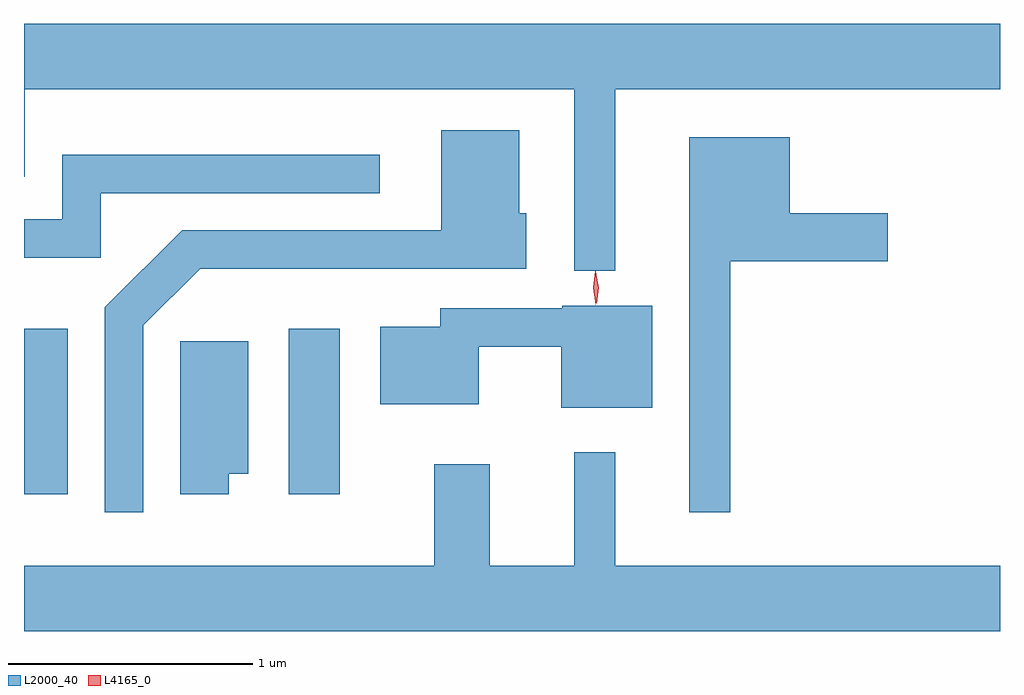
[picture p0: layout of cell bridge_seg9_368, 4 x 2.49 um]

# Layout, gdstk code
import gdstk
lib = gdstk.Library(unit=1e-6, precision=1e-09)
def R(c, l, rs):  # rectangles x0, y0, x1, y1
    for r in rs: c.add(gdstk.rectangle(r[:2], r[2:], *l))
def P(c, l, *ps):  # polygons
    for p in ps: c.add(gdstk.Polygon(p, *l))
L2000_40 = (2000, 40)
L4165_0 = (4165, 0)

bridge_seg9_368 = lib.new_cell('bridge_seg9_368')
R(bridge_seg9_368, L2000_40, [(897.225,2005.696,897.404,2006.374), (898.311,2005.696,898.519,2006.374)])
P(bridge_seg9_368, L2000_40, [(899.649,2007.356),(901.225,2007.356),(901.225,2007.624),(897.225,2007.624),(897.225,2006.998),(897.229,2006.998),(897.229,2007.356),(899.481,2007.356),(899.481,2006.613),(899.649,2006.613)],
  [(897.714,2006.389),(897.947,2006.621),(899.284,2006.621),(899.284,2006.849),(899.254,2006.849),(899.254,2007.189),(898.936,2007.189),(898.936,2006.779),(897.874,2006.779),(897.556,2006.462),(897.556,2005.623),(897.714,2005.623)],
  [(900.119,2006.651),(900.764,2006.651),(900.764,2006.849),(900.364,2006.849),(900.364,2007.159),(899.951,2007.159),(899.951,2005.623),(900.119,2005.623)],
  [(897.539,2006.931),(898.683,2006.931),(898.683,2007.089),(897.381,2007.089),(897.381,2006.824),(897.225,2006.824),(897.225,2006.666),(897.539,2006.666)],
  [(899.799,2006.469),(899.43,2006.469),(899.43,2006.459),(898.931,2006.459),(898.931,2006.384),(898.686,2006.384),(898.686,2006.066),(899.089,2006.066),(899.089,2006.301),(899.426,2006.301),(899.426,2006.051),(899.799,2006.051)],
  [(898.064,2005.781),(898.144,2005.781),(898.144,2006.324),(897.866,2006.324),(897.866,2005.696),(898.064,2005.696)],
  [(901.225,2005.404),(899.649,2005.404),(899.649,2005.868),(899.481,2005.868),(899.481,2005.404),(899.134,2005.404),(899.134,2005.819),(898.906,2005.819),(898.906,2005.404),(897.225,2005.404),(897.225,2005.136),(901.225,2005.136)])
P(bridge_seg9_368, L4165_0, [(899.568,2006.473),(899.568,2006.474),(899.558,2006.542),(899.567,2006.61),(899.567,2006.61),(899.568,2006.61),(899.578,2006.542),(899.569,2006.474)],
  [(899.572,2006.479),(899.572,2006.479),(899.56,2006.542),(899.567,2006.607),(899.567,2006.607),(899.568,2006.607),(899.58,2006.543),(899.573,2006.479)])

lib.write_gds('bridge_seg9_368.gds')
